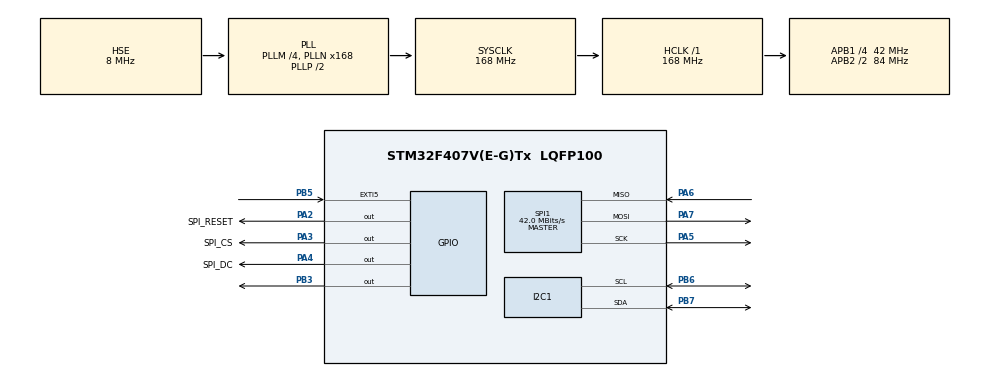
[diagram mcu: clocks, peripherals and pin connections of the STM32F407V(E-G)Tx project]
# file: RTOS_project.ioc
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Dma.I2C1_RX.0.Direction=DMA_PERIPH_TO_MEMORY
Dma.I2C1_RX.0.FIFOMode=DMA_FIFOMODE_DISABLE
Dma.I2C1_RX.0.Instance=DMA1_Stream0
Dma.I2C1_RX.0.MemDataAlignment=DMA_MDATAALIGN_BYTE
Dma.I2C1_RX.0.MemInc=DMA_MINC_ENABLE
Dma.I2C1_RX.0.Mode=DMA_NORMAL
Dma.I2C1_RX.0.PeriphDataAlignment=DMA_PDATAALIGN_BYTE
Dma.I2C1_RX.0.PeriphInc=DMA_PINC_DISABLE
Dma.I2C1_RX.0.Priority=DMA_PRIORITY_LOW
Dma.Request0=I2C1_RX
Dma.Request1=SPI1_TX
Dma.SPI1_TX.1.Direction=DMA_MEMORY_TO_PERIPH
Dma.SPI1_TX.1.FIFOMode=DMA_FIFOMODE_DISABLE
Dma.SPI1_TX.1.Instance=DMA2_Stream3
Dma.SPI1_TX.1.MemDataAlignment=DMA_MDATAALIGN_BYTE
Dma.SPI1_TX.1.MemInc=DMA_MINC_ENABLE
Dma.SPI1_TX.1.Mode=DMA_NORMAL
Dma.SPI1_TX.1.PeriphDataAlignment=DMA_PDATAALIGN_BYTE
Dma.SPI1_TX.1.PeriphInc=DMA_PINC_DISABLE
Dma.SPI1_TX.1.Priority=DMA_PRIORITY_LOW
FREERTOS.Tasks01=main_task,24,256,MainTask,Default,NULL,Dynamic,NULL,NULL
Mcu.Family=STM32F4
Mcu.Name=STM32F407V(E-G)Tx
Mcu.Package=LQFP100
NVIC.DMA1_Stream0_IRQn=true\:5\:0\:false\:false\:true\:true\:false\:true\:true
NVIC.DMA2_Stream3_IRQn=true\:5\:0\:false\:false\:true\:true\:false\:true\:true
NVIC.EXTI9_5_IRQn=true\:5\:0\:false\:false\:true\:true\:true\:true\:true
NVIC.PriorityGroup=NVIC_PRIORITYGROUP_4
NVIC.TIM6_DAC_IRQn=true\:15\:0\:false\:false\:true\:false\:false\:true\:true
NVIC.TimeBase=TIM6_DAC_IRQn
NVIC.TimeBaseIP=TIM6
PA13.Mode=Serial_Wire
PA13.Signal=SYS_JTMS-SWDIO
PA14.Mode=Serial_Wire
PA14.Signal=SYS_JTCK-SWCLK
PA2.GPIO_Label=SPI_RESET
PA2.GPIO_Speed=GPIO_SPEED_FREQ_HIGH
PA2.PinState=GPIO_PIN_SET
PA2.Signal=GPIO_Output
PA3.GPIO_Label=SPI_CS
PA3.GPIO_Speed=GPIO_SPEED_FREQ_HIGH
PA3.Signal=GPIO_Output
PA4.GPIO_Label=SPI_DC
PA4.GPIO_Speed=GPIO_SPEED_FREQ_HIGH
PA4.Signal=GPIO_Output
PA5.Mode=Full_Duplex_Master
PA5.Signal=SPI1_SCK
PA6.Mode=Full_Duplex_Master
PA6.Signal=SPI1_MISO
PA7.Mode=Full_Duplex_Master
PA7.Signal=SPI1_MOSI
PB3.GPIO_Speed=GPIO_SPEED_FREQ_VERY_HIGH
PB3.Signal=GPIO_Output
PB5.GPIO_ModeDefaultEXTI=GPIO_MODE_IT_FALLING
PB5.Signal=GPXTI5
PB6.Mode=I2C
PB6.Signal=I2C1_SCL
PB7.Mode=I2C
PB7.Signal=I2C1_SDA
PH0-OSC_IN.Mode=HSE-External-Oscillator
PH0-OSC_IN.Signal=RCC_OSC_IN
PH1-OSC_OUT.Mode=HSE-External-Oscillator
PH1-OSC_OUT.Signal=RCC_OSC_OUT
ProjectManager.HeapSize=0x200
ProjectManager.StackSize=0x400
ProjectManager.TargetToolchain=CMake
RCC.48MHZClocksFreq_Value=84000000
RCC.AHBFreq_Value=168000000
RCC.APB1CLKDivider=RCC_HCLK_DIV4
RCC.APB1Freq_Value=42000000
RCC.APB1TimFreq_Value=84000000
RCC.APB2CLKDivider=RCC_HCLK_DIV2
RCC.APB2Freq_Value=84000000
RCC.APB2TimFreq_Value=168000000
RCC.CortexFreq_Value=168000000
RCC.HCLKFreq_Value=168000000
RCC.HSE_VALUE=8000000
RCC.HSI_VALUE=16000000
RCC.LSE_VALUE=32768
RCC.PLLM=4
RCC.PLLN=168
RCC.PLLSourceVirtual=RCC_PLLSOURCE_HSE
RCC.SYSCLKFreq_VALUE=168000000
RCC.SYSCLKSource=RCC_SYSCLKSOURCE_PLLCLK
RCC.VCOOutputFreq_Value=336000000
SPI1.BaudRatePrescaler=SPI_BAUDRATEPRESCALER_2
SPI1.CalculateBaudRate=42.0 MBits/s
SPI1.Direction=SPI_DIRECTION_2LINES
SPI1.Mode=SPI_MODE_MASTER
SPI1.VirtualType=VM_MASTER
VP_FREERTOS_VS_CMSIS_V2.Mode=CMSIS_V2
VP_SYS_VS_tim6.Mode=TIM6
board=custom

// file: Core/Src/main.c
/* USER CODE BEGIN Header */
/**
  ******************************************************************************
  * @file           : main.c
  * @brief          : Main program body
  ******************************************************************************
  * @attention
  *
  * Copyright (c) 2025 STMicroelectronics.
  * All rights reserved.
  *
  * This software is licensed under terms that can be found in the LICENSE file
  * in the root directory of this software component.
  * If no LICENSE file comes with this software, it is provided AS-IS.
  *
  ******************************************************************************
  */
/* USER CODE END Header */
#include "main.h"
#include "cmsis_os.h"
#include "dma.h"
#include "i2c.h"
#include "spi.h"
#include "gpio.h"

void SystemClock_Config(void);
void MX_FREERTOS_Init(void);

int main(void)
{

  /* MCU Configuration--------------------------------------------------------*/

  /* Reset of all peripherals, Initializes the Flash interface and the Systick. */
  HAL_Init();

  /* Configure the system clock */
  SystemClock_Config();

  /* Initialize all configured peripherals */
  MX_GPIO_Init();
  MX_DMA_Init();
  MX_I2C1_Init();
  MX_SPI1_Init();

  /* Init scheduler */
  osKernelInitialize();

  /* Call init function for freertos objects (in cmsis_os2.c) */
  MX_FREERTOS_Init();

  /* Start scheduler */
  osKernelStart();

  /* We should never get here as control is now taken by the scheduler */

  /* Infinite loop */
  while (1)
  {

  }
}

void SystemClock_Config(void)
{
  RCC_OscInitTypeDef RCC_OscInitStruct = {0};
  RCC_ClkInitTypeDef RCC_ClkInitStruct = {0};

  /** Configure the main internal regulator output voltage
  */
  __HAL_RCC_PWR_CLK_ENABLE();
  __HAL_PWR_VOLTAGESCALING_CONFIG(PWR_REGULATOR_VOLTAGE_SCALE1);

  /** Initializes the RCC Oscillators according to the specified parameters
  * in the RCC_OscInitTypeDef structure.
  */
  RCC_OscInitStruct.OscillatorType = RCC_OSCILLATORTYPE_HSE;
  RCC_OscInitStruct.HSEState = RCC_HSE_ON;
  RCC_OscInitStruct.PLL.PLLState = RCC_PLL_ON;
  RCC_OscInitStruct.PLL.PLLSource = RCC_PLLSOURCE_HSE;
  RCC_OscInitStruct.PLL.PLLM = 4;
  RCC_OscInitStruct.PLL.PLLN = 168;
  RCC_OscInitStruct.PLL.PLLP = RCC_PLLP_DIV2;
  RCC_OscInitStruct.PLL.PLLQ = 4;
  if (HAL_RCC_OscConfig(&RCC_OscInitStruct) != HAL_OK)
  {
    Error_Handler();
  }

  /** Initializes the CPU, AHB and APB buses clocks
  */
  RCC_ClkInitStruct.ClockType = RCC_CLOCKTYPE_HCLK|RCC_CLOCKTYPE_SYSCLK
                              |RCC_CLOCKTYPE_PCLK1|RCC_CLOCKTYPE_PCLK2;
  RCC_ClkInitStruct.SYSCLKSource = RCC_SYSCLKSOURCE_PLLCLK;
  RCC_ClkInitStruct.AHBCLKDivider = RCC_SYSCLK_DIV1;
  RCC_ClkInitStruct.APB1CLKDivider = RCC_HCLK_DIV4;
  RCC_ClkInitStruct.APB2CLKDivider = RCC_HCLK_DIV2;

  if (HAL_RCC_ClockConfig(&RCC_ClkInitStruct, FLASH_LATENCY_5) != HAL_OK)
  {
    Error_Handler();
  }
}

void HAL_TIM_PeriodElapsedCallback(TIM_HandleTypeDef *htim)
{
  if (htim->Instance == TIM6)
  {
    HAL_IncTick();
  }
}

void Error_Handler(void)
{
  __disable_irq();
  while (1)
  {
  }
}

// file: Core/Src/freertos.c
/* USER CODE BEGIN Header */
/**
  ******************************************************************************
  * File Name          : freertos.c
  * Description        : Code for freertos applications
  ******************************************************************************
  * @attention
  *
  * Copyright (c) 2025 STMicroelectronics.
  * All rights reserved.
  *
  * This software is licensed under terms that can be found in the LICENSE file
  * in the root directory of this software component.
  * If no LICENSE file comes with this software, it is provided AS-IS.
  *
  ******************************************************************************
  */
/* USER CODE END Header */

#include "FreeRTOS.h"
#include "task.h"
#include "main.h"
#include "cmsis_os.h"

/* USER CODE BEGIN Includes */
#include "../../03-Adapter/03_2-MPU6050/imu_system_adaption.h"
#include "elog.h"
#include "log_task.h"
#include "unpack_task.h"
#include "../../03-Adapter/03_X-Debug/user_debug.h"
#include "DWT_delay.h"
#include "st7789_system_adaption.h"
#include "image_rgb565.h"
/* USER CODE END Includes */

/* USER CODE BEGIN PD */
#ifdef  LOG_TAG
#undef  LOG_TAG
#define LOG_TAG       "FreeRTOS"
#else // else of LOG_TAG
#define LOG_TAG       "FreeRTOS"
#endif // end of LOG_TAG

/* USER CODE END PD */

/* USER CODE BEGIN PM */
#define FREERTOS_DEBUG
#ifdef  FREERTOS_DEBUG
#define LOG_DEBUG(x,...)  log_d(x, ##__VA_ARGS__)
#define LOG_ERROR(x,...)  log_e(x, ##__VA_ARGS__)
#else
#define LOG_DEBUG(x,...)   ((void)0)
#define LOG_ERROR(x,...)   ((void)0)
#endif

#define ERROR_CHECK(EERO_NUM, NUM_EXPECT_VAL, LOG) do{\
if((EERO_NUM) != (NUM_EXPECT_VAL))                    \
{                                                     \
LOG_ERROR((LOG));                                     \
}}while (0)
/* USER CODE END PM */

/* USER CODE BEGIN Variables */
TaskHandle_t g_log_task_handler;
TaskHandle_t g_unpack_task_handler;

/* USER CODE END Variables */
/* Definitions for main_task */
osThreadId_t main_taskHandle;
const osThreadAttr_t main_task_attributes = {
  .name = "main_task",
  .stack_size = 256 * 4,
  .priority = (osPriority_t) osPriorityNormal,
};

void MainTask(void *argument);

void MX_FREERTOS_Init(void); /* (MISRA C 2004 rule 8.1) */

void MX_FREERTOS_Init(void) {
  /* USER CODE BEGIN Init */
  user_debug_init();
  DWT_Delay_Init();
  /* USER CODE END Init */

  /* Create the thread(s) */
  /* creation of main_task */
  main_taskHandle = osThreadNew(MainTask, NULL, &main_task_attributes);

  /* USER CODE BEGIN RTOS_THREADS */
  /* add threads, ... */
  st7789_system_adaption();
  /* USER CODE END RTOS_THREADS */

}

/* USER CODE BEGIN Header_MainTask */
void temp_humi_callback(float* temp,float* humi)
{
  log_i("get the temp:%d and humi:%d", (uint32_t)(*temp), (uint32_t)(*humi));
}
/**
  * @brief  Function implementing the main_task thread.
  * @param  argument: Not used
  * @retval None
  */
/* USER CODE END Header_MainTask */
void MainTask(void *argument)
{
  /* USER CODE BEGIN MainTask */
  st7789_driver_instance.pf_init(&st7789_driver_instance);
  /* Infinite loop */
  for(;;)
  {
    // st7789_driver_instance.pf_fill_color(&st7789_driver_instance, 0x07E0);
    // st7789_driver_instance.pf_fill(&st7789_driver_instance, 0, 0, ST7789_WIDTH-1, ST7789_HEIGHT-1, MAGENTA);
    st7789_driver_instance.pf_flush_color_buffer(&st7789_driver_instance, 0, 0, ST7789_WIDTH-1, ST7789_HEIGHT-1, image_rgb565);
  }
  /* USER CODE END MainTask */
}
